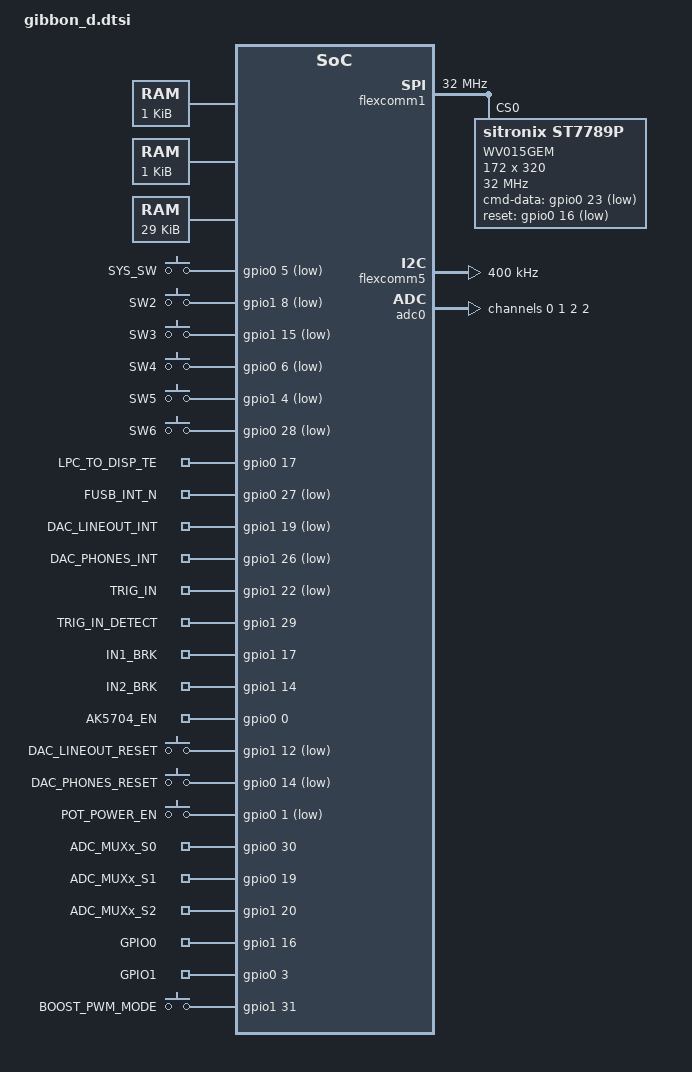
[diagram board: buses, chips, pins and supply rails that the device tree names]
 #include "gibbon_d-pinctrl.dtsi"
 #include <zephyr/dt-bindings/adc/mcux-lpadc.h>
 #include <zephyr/dt-bindings/input/input-event-codes.h>
 #include <zephyr/dt-bindings/memory-attr/memory-attr-arm.h>

 / {
    aliases{
         spi-1 = &flexcomm1;
     };

     reserved-memory {
         #address-cells = <1>;
         #size-cells = <1>;
         ranges;

         /* RAM split used by TFM */
         secure_ram: partition@20000000 {
             label = "secure-memory";
             reg = <0x20000000 DT_SIZE_K(136)>;
         };

         non_secure_ram: partition@20022000 {
             label = "non-secure-memory";
             reg = <0x20022000 DT_SIZE_K(136)>;
         };
     };

     sram_ipc0: memory@4000000{
        compatible = "zephyr,memory-region", "mmio-sram";
        reg = <0x4000000 DT_SIZE_K(1)>;
        zephyr,memory-region="SRAMX_IPC0";
        zephyr,memory-attr = <( DT_MEM_ARM(ATTR_MPU_IO))>;
	 };

     sram_ipc1: memory@4000400{
        compatible = "zephyr,memory-region", "mmio-sram";
        reg = <0x4000400 DT_SIZE_K(1)>;
        zephyr,memory-region="SRAMX_IPC1";
        zephyr,memory-attr = <( DT_MEM_ARM(ATTR_MPU_IO))>;
     };

     sramxx: memory@4000800{
        compatible = "zephyr,memory-region", "mmio-sram";
        reg = <0x4000800 DT_SIZE_K(29)>;
        zephyr,memory-region="SRAMXX";
        zephyr,memory-attr = <( DT_MEM_ARM(ATTR_MPU_IO))>;
     };

     gpio_keys {
         compatible = "gpio-keys";
         sw1: sw1 {
             label = "SYS_SW";
             gpios = <&gpio0 5 (GPIO_ACTIVE_LOW | GPIO_PULL_UP)>;
             zephyr,code = <INPUT_KEY_1>;
         };

         sw2: sw2 {
             label = "SW2";
             gpios = <&gpio1 8 (GPIO_ACTIVE_LOW | GPIO_PULL_UP)>;
             zephyr,code = <INPUT_KEY_2>;
         };

         sw3: sw3 {
             label = "SW3";
             gpios = <&gpio1 15 (GPIO_ACTIVE_LOW | GPIO_PULL_UP)>;
             zephyr,code = <INPUT_KEY_3>;
         };

         sw4: sw4 {
             label = "SW4";
             gpios = <&gpio0 6 (GPIO_ACTIVE_LOW | GPIO_PULL_UP)>;
             zephyr,code = <INPUT_KEY_4>;
         };

         sw5: sw5 {
             label = "SW5";
             gpios = <&gpio1 4 (GPIO_ACTIVE_LOW | GPIO_PULL_UP)>;
             zephyr,code = <INPUT_KEY_5>;
         };

         sw6: sw6{
             label = "SW6";
             gpios = <&gpio0 28 (GPIO_ACTIVE_LOW | GPIO_PULL_UP)>;
             zephyr,code = <INPUT_KEY_6>;
         };
     };

     gpios {
             compatible = "gpio-keys";

             display_te:display_te{ 		/* in */
                 gpios = <&gpio0 17 GPIO_ACTIVE_HIGH>;
                 label = "LPC_TO_DISP_TE";
             };

             fusb_int:fusb_int_n{		/* in */
                 gpios = <&gpio0 27 (GPIO_ACTIVE_LOW | GPIO_PULL_UP)>;
                 label = "FUSB_INT_N";
             };

             dac_lineout_int:dac_lineout_int{ 		/* in */
                 gpios = <&gpio1 19 (GPIO_ACTIVE_LOW | GPIO_PULL_UP)>;
                 label = "DAC_LINEOUT_INT";
             };

             dac_phones_int:dac_phones_int{ 		/* in */
                 gpios = <&gpio1 26 (GPIO_ACTIVE_LOW | GPIO_PULL_UP)>;
                 label = "DAC_PHONES_INT";
             };

             trig_in:trig_in{ 		/* in */
                 gpios = <&gpio1 22 (GPIO_ACTIVE_LOW | GPIO_PULL_UP)>;
                 label = "TRIG_IN";
             };

             trig_in_detect:trig_in_detect{ 		/* in */
                 gpios = <&gpio1 29 GPIO_ACTIVE_HIGH>;
                 label = "TRIG_IN_DETECT";
             };

             line_in1_detect:line_in1_detect{ 		/* in */
                 gpios = <&gpio1 17 GPIO_ACTIVE_HIGH>;
                 label = "IN1_BRK";
             };

             line_in2_detect:line_in2_detect{ 		/* in */
                 gpios = <&gpio1 14 GPIO_ACTIVE_HIGH>;
                 label = "IN2_BRK";
             };

             ak5704_en: ak5704_en{		/* out */
                 gpios = <&gpio0 0 GPIO_ACTIVE_HIGH>;
                 label = "AK5704_EN";
             };

             dac_lineout_reset: dac_lineout_reset{		/* out */
                 gpios = <&gpio1 12 (GPIO_ACTIVE_LOW | GPIO_PULL_DOWN)>;
                 label = "DAC_LINEOUT_RESET";
             };

             dac_phones_reset: dac_phones_reset{		/* out */
                 gpios = <&gpio0 14 (GPIO_ACTIVE_LOW | GPIO_PULL_DOWN)>;
                 label = "DAC_PHONES_RESET";
             };

             adc_muxx_en: adc_muxx_en{		/* out */
                 gpios = <&gpio0 1 GPIO_ACTIVE_LOW>;
                 label = "POT_POWER_EN";
             };

             adc_muxx_s0: adc_muxx_s0{		/* out */
                 gpios = <&gpio0 30 GPIO_ACTIVE_HIGH>;
                 label = "ADC_MUXx_S0";
             };

             adc_muxx_s1: adc_muxx_s1{		/* out */
                 gpios = <&gpio0 19 GPIO_ACTIVE_HIGH>;
                 label = "ADC_MUXx_S1";
             };

             adc_muxx_s2: adc_muxx_s2{		/* out */
                 gpios = <&gpio1 20 GPIO_ACTIVE_HIGH>;
                 label = "ADC_MUXx_S2";
             };

             dev_gpio0:dev_gpio0{		/* out */
                 gpios = <&gpio1 16 GPIO_ACTIVE_HIGH>;
                 label = "GPIO0";
             };

             dev_gpio1: dev_gpio1{		/* out */
                 gpios = <&gpio0 3 GPIO_ACTIVE_HIGH>;
                 label = "GPIO1";
             };

            boost_pwm_mode: boost_pwm-mode{		/* out */
                 gpios = <&gpio1 31 GPIO_ACTIVE_HIGH>;
                 label = "BOOST_PWM_MODE";
             };

         };
};

&flash0 {
     partitions {
         compatible = "fixed-partitions";
         #address-cells = <1>;
         #size-cells = <1>;

         bootloader_a_header_partition: partition@1000 {
                 label = "bootloader_a_header_partition";
                 reg = <0x1000 0x200>;
         };

         bootloader_b_header_partition: partition@1200 {
                 label = "bootloader_b_header_partition";
                 reg = <0x1200 0x200>;
         };

         app_header_partition: partition@1400 {
                 label = "app_header_partition";
                 reg = <0x1400 0x200>;
         };

         metadata_partition: partition@1600 {
                 label = "metadata_partition";
                 reg = <0x1600 0x200>;
         };

         bootloader_a_partition: partition@2000 {
                 label = "bootloader_a_partition";
                 reg = <0x2000 0x8000>;
         };

         bootloader_b_partition: partition@a000 {
                 label = "bootloader_b_partition";
                 reg = <0xa000 0x8000>;
         };

         app_partition: partition@12000 {
                 label = "app_partition";
                 reg = <0x12000 0x50000>;
         };

         app_cpu1_partition: partition@62000 {
                 label = "app_cpu1_partition";
                 reg = <0x62000 0x30000>;
         };
     };
};

&dma0 {
    interrupts = <1 6>;
};

&flexcomm0 {
    pinctrl-0 = <&pinmux_flexcomm0_i2s>;
    pinctrl-names = "default";
    compatible = "te,lpc-i2s";
    interrupts = <14 1>;
    #address-cells = <1>;
    #size-cells = <0>;
    dmas = <&dma0 4>;
    dma-names = "rx";
    /delete-property/ resets;
};

&flexcomm1 {
     compatible = "nxp,lpc-spi";
     pinctrl-0 = <&pinmux_flexcomm1_spi>;
     pinctrl-names = "default";
     clock-frequency= <32000000>;
     #address-cells = <1>;
     #size-cells = <0>;
     dmas = <&dma1 6>, <&dma1 7>;
     dma-names = "rx", "tx";
         WV015GEM: st7789p@0 {
             compatible = "sitronix,st7789p";
             spi-max-frequency = <32000000>;
             cmd-data-gpios = <&gpio0 23 GPIO_ACTIVE_LOW>;
             reset-gpios = <&gpio0 16 GPIO_ACTIVE_LOW>;
             width = <172>;
             height = <320>;
             reg = <0>;
             x-offset = <34>;
             y-offset = <0>;
             vcom = <0x27>;
             gctrl = <0x46>;
             vrhs = <0x21>;
             vdvs = <0x20>;
             mdac = <0xD0>;
             gamma = <0x01>;
             colmod = <0x05>;
             lcm = <0x2c>;
             porch-param = [0c 0c 00 33 33];
             cmd2en-param = [5a 69 02 01];
             pwctrl1-param = [a4 a1];
             pvgam-param = [F0 00 06 05 04 15 31 44 46 36 12 13 2B 31];
             nvgam-param = [F0 0C 11 10 10 09 31 33 46 37 14 14 2C 32];
             ram-param = [00 F8];
             rgb-param = [CD 08 14];
             frame-rate = <0x0b>;
             te-on=<0x01>;
         };
};


&flexcomm4 {
    compatible = "te,lpc-i2s";
    interrupts = <18 1>;
    #address-cells = <1>;
    #size-cells = <0>;
    dmas = <&dma0 12>;
    dma-names = "rx";
    /delete-property/ resets;
};

fc5_i2c: &flexcomm5 {
     pinctrl-0 = <&pinmux_flexcomm5_i2c>;
     pinctrl-names = "default";
     compatible = "nxp,lpc-i2c";
     clock-frequency = <I2C_BITRATE_FAST>;
     #address-cells = <1>;
     #size-cells = <0>;
};

&flexcomm7 {
    pinctrl-0 = <&pinmux_flexcomm7_i2s>;
    pinctrl-names = "default";
    compatible = "te,lpc-i2s";
    interrupts = <21 1>;
    #address-cells = <1>;
    #size-cells = <0>;
    dmas = <&dma0 19>;
    dma-names = "tx";
    /delete-property/ resets;
};


&hs_lspi {
     pinctrl-0 = <&pinmux_hs_lspi_default>;
     pinctrl-names = "default";
};

&sc_timer {
     pinctrl-0 = <&pinmux_sctimer_default>;
     pinctrl-names = "default";
};

&adc0 {
	pinctrl-0 = <&pinmux_lpadc0>;
	pinctrl-names = "default";
	#address-cells = <1>;
	#size-cells = <0>;
    channel@0 {
          reg = <0>;
          zephyr,gain = "ADC_GAIN_1";
          zephyr,reference = "ADC_REF_EXTERNAL0";
          zephyr,vref-mv = <1800>;
          zephyr,acquisition-time = <ADC_ACQ_TIME_DEFAULT>;
          zephyr,resolution = <16>;
          zephyr,input-positive = <MCUX_LPADC_CH3B>;
     };
     channel@1 {
          reg = <1>;
          zephyr,gain = "ADC_GAIN_1";
          zephyr,reference = "ADC_REF_EXTERNAL0";
          zephyr,vref-mv = <1800>;
          zephyr,acquisition-time = <ADC_ACQ_TIME_DEFAULT>;
          zephyr,resolution = <16>;
          zephyr,input-positive = <MCUX_LPADC_CH4B>;
          };
     channel@2 {
          reg = <2>;
          zephyr,gain = "ADC_GAIN_1";
          zephyr,reference = "ADC_REF_EXTERNAL0";
          zephyr,vref-mv = <1800>;
          zephyr,acquisition-time = <ADC_ACQ_TIME_DEFAULT>;
          zephyr,resolution = <16>;
          zephyr,input-positive = <MCUX_LPADC_CH3A>;
          };
     channel@4 {
          reg = <2>;
          zephyr,gain = "ADC_GAIN_1";
          zephyr,reference = "ADC_REF_EXTERNAL0";
          zephyr,vref-mv = <1800>;
          zephyr,acquisition-time = <ADC_ACQ_TIME_DEFAULT>;
          zephyr,resolution = <16>;
          zephyr,input-positive = <MCUX_LPADC_CH2A>;
          };
};
